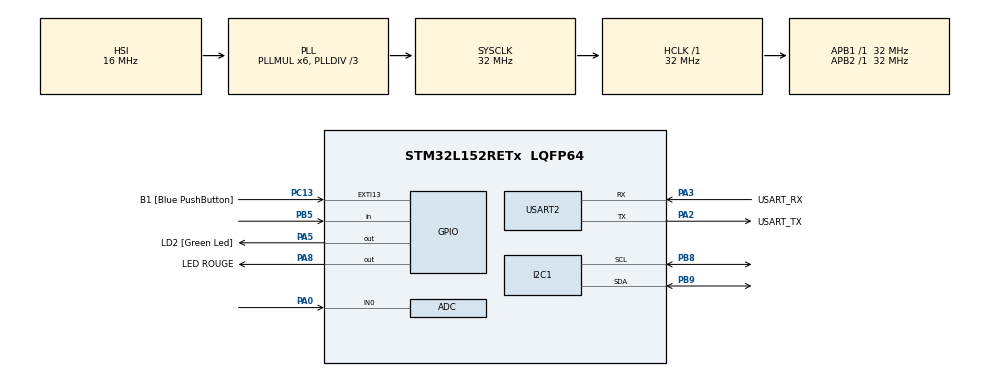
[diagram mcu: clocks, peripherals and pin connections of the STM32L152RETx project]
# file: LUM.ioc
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ADC.Channel-0\#ChannelRegularConversion=ADC_CHANNEL_0
ADC.NbrOfConversionFlag=1
ADC.Rank-0\#ChannelRegularConversion=1
ADC.SamplingTime-0\#ChannelRegularConversion=ADC_SAMPLETIME_4CYCLES
Mcu.Family=STM32L1
Mcu.Name=STM32L152RETx
Mcu.Package=LQFP64
NVIC.PriorityGroup=NVIC_PRIORITYGROUP_0
PA0-WKUP1.Mode=IN0
PA0-WKUP1.Signal=ADC_IN0
PA13.GPIO_Label=TMS
PA13.Mode=Serial_Wire
PA13.Signal=SYS_JTMS-SWDIO
PA14.GPIO_Label=TCK
PA14.Mode=Serial_Wire
PA14.Signal=SYS_JTCK-SWCLK
PA2.GPIO_Label=USART_TX
PA2.Mode=Asynchronous
PA2.Signal=USART2_TX
PA3.GPIO_Label=USART_RX
PA3.Mode=Asynchronous
PA3.Signal=USART2_RX
PA5.GPIO_Label=LD2 [Green Led]
PA5.Signal=GPIO_Output
PA8.GPIO_Label=LED ROUGE
PA8.GPIO_Speed=GPIO_SPEED_FREQ_MEDIUM
PA8.Signal=GPIO_Output
PB3.GPIO_Label=SWO
PB3.Signal=SYS_JTDO-TRACESWO
PB5.Signal=GPIO_Input
PB8.Mode=I2C
PB8.Signal=I2C1_SCL
PB9.Mode=I2C
PB9.Signal=I2C1_SDA
PC13-WKUP2.GPIO_Label=B1 [Blue PushButton]
PC13-WKUP2.Signal=GPXTI13
PC14-OSC32_IN.Mode=LSE-External-Oscillator
PC14-OSC32_IN.Signal=RCC_OSC32_IN
PC15-OSC32_OUT.Mode=LSE-External-Oscillator
PC15-OSC32_OUT.Signal=RCC_OSC32_OUT
PH0-OSC_IN.Mode=HSE-External-Clock-Source
PH0-OSC_IN.Signal=RCC_OSC_IN
PH1-OSC_OUT.Signal=RCC_OSC_OUT
ProjectManager.HeapSize=0x200
ProjectManager.StackSize=0x400
ProjectManager.TargetToolchain=STM32CubeIDE
RCC.48MHZClocksFreq_Value=48000000
RCC.AHBFreq_Value=32000000
RCC.APB1Freq_Value=32000000
RCC.APB1TimFreq_Value=32000000
RCC.APB2Freq_Value=32000000
RCC.APB2TimFreq_Value=32000000
RCC.HCLKFreq_Value=32000000
RCC.HSE_VALUE=8000000
RCC.HSI_VALUE=16000000
RCC.MSI_VALUE=2097000
RCC.PLLDIV=RCC_PLL_DIV3
RCC.PLLMUL=RCC_PLL_MUL6
RCC.RTCClockSelectionVirtual=RCC_RTCCLKSOURCE_LSE
RCC.SYSCLKFreq_VALUE=32000000
RCC.SYSCLKSource=RCC_SYSCLKSOURCE_PLLCLK
RCC.USBOutput=48000000
RCC.VCOOutputFreq_Value=96000000
USART2.VirtualMode=VM_ASYNC
board=NUCLEO-L152RE

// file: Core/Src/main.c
/* USER CODE BEGIN Header */
/**
  ******************************************************************************
  * @file           : main.c
  * @brief          : Main program body
  ******************************************************************************
  * @attention
  *
  * Copyright (c) 2022 STMicroelectronics.
  * All rights reserved.
  *
  * This software is licensed under terms that can be found in the LICENSE file
  * in the root directory of this software component.
  * If no LICENSE file comes with this software, it is provided AS-IS.
  *
  ******************************************************************************
  */
/* USER CODE END Header */
#include "main.h"
#include "adc.h"
#include "i2c.h"
#include "usart.h"
#include "gpio.h"

/* USER CODE BEGIN Includes */
#include <string.h>
#include "lib_lcd.h"
#include "caracter.h"
/* USER CODE END Includes */

/* USER CODE BEGIN PTD */
static rgb_lcd lcdData;
/* USER CODE END PTD */

void SystemClock_Config(void);

/* USER CODE BEGIN 0 */

uint8_t buf[12] ;
/* USER CODE END 0 */

int main(void)
{
  /* USER CODE BEGIN 1 */
	 uint16_t readValue;
	  char msg[10];
  /* USER CODE END 1 */

  /* MCU Configuration--------------------------------------------------------*/

  /* Reset of all peripherals, Initializes the Flash interface and the Systick. */
  HAL_Init();

  /* Configure the system clock */
  SystemClock_Config();

  /* Initialize all configured peripherals */
  MX_GPIO_Init();
  MX_USART2_UART_Init();
  MX_ADC_Init();
  MX_I2C1_Init();
  /* USER CODE BEGIN 2 */

    lcd_init(&hi2c1, &lcdData); // initialise le lcd
    lcd_position(&hi2c1,0,0);
    lcd_print(&hi2c1,"LUMINOSITE");
    reglagecouleur(50,50,9);
  /* USER CODE END 2 */

  /* Infinite loop */
  /* USER CODE BEGIN WHILE */
  while (1)
  {
	      HAL_ADC_Start(&hadc);
	  	  HAL_ADC_PollForConversion(&hadc, HAL_MAX_DELAY);
	  	  readValue = HAL_ADC_GetValue(&hadc);
	  	  sprintf(msg, "%hu\r\n", readValue);
	  	  HAL_UART_Transmit(&huart2, (uint8_t*)msg, strlen(msg), HAL_MAX_DELAY);

	  	 HAL_Delay(500);
	  	char res [10];

	  	if (readValue>3000)
	  	{
	  		 lcd_position(&hi2c1,2,1);
	  		 lcd_print(&hi2c1," IL FAIT JOUR");
	  	}else
	  	    {
	  		   lcd_position(&hi2c1,2,1);
	  	       lcd_print(&hi2c1,"IL FAIT NUIT\n");
	    	}

	  		/*  ftoat (readValue,res,1);
	  		  lcd_position(&hi2c1,8,1);
	  		  lcd_print(&hi2c1,res); */

    /* USER CODE END WHILE */
	  	strcpy((char*)buf,"NONE\r\n");

	  		    HAL_UART_Transmit(&huart2,buf,strlen((char*)buf), HAL_MAX_DELAY) ;

	  		  	    if (HAL_GPIO_ReadPin(GPIOB, GPIO_PIN_5) && readValue<3000) // PIN HIGH

	  		  	    {     strcpy((char*)buf, "MOTION\r\n");

	  		  	    	HAL_UART_Transmit(&huart2,buf,strlen((char*)buf), HAL_MAX_DELAY) ;
	  		  	// HAL_GPIO_WritePin (GPIOB, GPIO_PIN_15, 1); // LED ON
	  		  	    	HAL_GPIO_WritePin(GPIOA, LD2_Pin|LED_ROUGE_Pin, 1);
	  		  	        HAL_Delay (1000);
	  		  	        HAL_GPIO_WritePin(GPIOA, LD2_Pin|LED_ROUGE_Pin, 0);

	  		  	    // HAL_GPIO_WritePin (GPIOB, GPIO_PIN_15, 0); // LED OFF
	  		  	    // while (HAL_GPIO_ReadPin(GPIOB, GPIO_PIN_5)); // Wait for PB5 to go low  ' 0v '
	  		  	    }

    /* USER CODE BEGIN 3 */
	  	//HAL_GPIO_TogglePin (GPIOA, GPIO_PIN_1);
	    //HAL_Delay (100); /* Insérer un délai 100 ms */
	/*   HAL_GPIO_WritePin(GPIOA, LED_ROUGE_Pin|LD2_Pin, GPIO_PIN_RESET);
	  		     //HAL_Delay (100);
	  	  if (readValue < 2980)
	  	  {
	     HAL_GPIO_WritePin(GPIOA, LED_ROUGE_Pin|LD2_Pin, GPIO_PIN_SET);
	     HAL_Delay (1000);
	     //HAL_GPIO_WritePin(GPIOA, LED_ROUGE_Pin|LD2_Pin, GPIO_PIN_RESET);
	     //HAL_Delay (100);
	  	  }  */
  }
  /* USER CODE END 3 */
}

void SystemClock_Config(void)
{
  RCC_OscInitTypeDef RCC_OscInitStruct = {0};
  RCC_ClkInitTypeDef RCC_ClkInitStruct = {0};

  /** Configure the main internal regulator output voltage
  */
  __HAL_PWR_VOLTAGESCALING_CONFIG(PWR_REGULATOR_VOLTAGE_SCALE1);
  /** Initializes the RCC Oscillators according to the specified parameters
  * in the RCC_OscInitTypeDef structure.
  */
  RCC_OscInitStruct.OscillatorType = RCC_OSCILLATORTYPE_HSI;
  RCC_OscInitStruct.HSIState = RCC_HSI_ON;
  RCC_OscInitStruct.HSICalibrationValue = RCC_HSICALIBRATION_DEFAULT;
  RCC_OscInitStruct.PLL.PLLState = RCC_PLL_ON;
  RCC_OscInitStruct.PLL.PLLSource = RCC_PLLSOURCE_HSI;
  RCC_OscInitStruct.PLL.PLLMUL = RCC_PLL_MUL6;
  RCC_OscInitStruct.PLL.PLLDIV = RCC_PLL_DIV3;
  if (HAL_RCC_OscConfig(&RCC_OscInitStruct) != HAL_OK)
  {
    Error_Handler();
  }
  /** Initializes the CPU, AHB and APB buses clocks
  */
  RCC_ClkInitStruct.ClockType = RCC_CLOCKTYPE_HCLK|RCC_CLOCKTYPE_SYSCLK
                              |RCC_CLOCKTYPE_PCLK1|RCC_CLOCKTYPE_PCLK2;
  RCC_ClkInitStruct.SYSCLKSource = RCC_SYSCLKSOURCE_PLLCLK;
  RCC_ClkInitStruct.AHBCLKDivider = RCC_SYSCLK_DIV1;
  RCC_ClkInitStruct.APB1CLKDivider = RCC_HCLK_DIV1;
  RCC_ClkInitStruct.APB2CLKDivider = RCC_HCLK_DIV1;

  if (HAL_RCC_ClockConfig(&RCC_ClkInitStruct, FLASH_LATENCY_1) != HAL_OK)
  {
    Error_Handler();
  }
}

void Error_Handler(void)
{
  __disable_irq();
  while (1)
  {
  }
}
